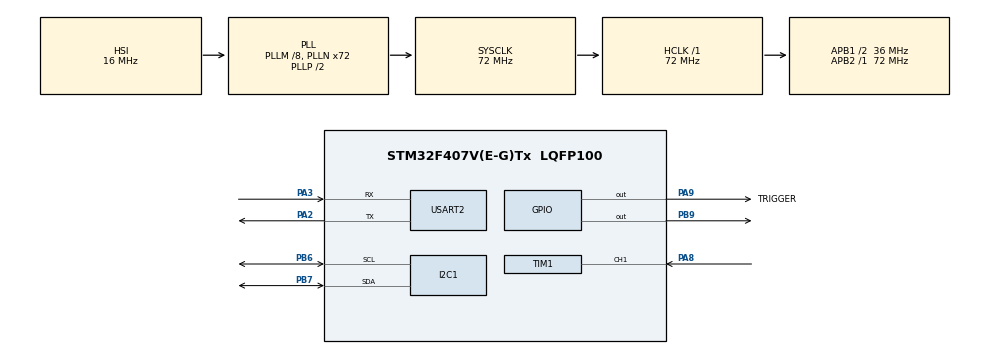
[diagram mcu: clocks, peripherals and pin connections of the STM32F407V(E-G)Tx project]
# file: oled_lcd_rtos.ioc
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FREERTOS.Tasks01=defaultTask,0,128,StartDefaultTask,Default,NULL,Dynamic,NULL,NULL
FREERTOS.configUSE_NEWLIB_REENTRANT=1
I2C1.I2C_Mode=I2C_Fast
Mcu.Family=STM32F4
Mcu.Name=STM32F407V(E-G)Tx
Mcu.Package=LQFP100
NVIC.PriorityGroup=NVIC_PRIORITYGROUP_4
NVIC.TIM2_IRQn=true\:15\:0\:false\:false\:true\:false\:false\:true\:true
NVIC.TimeBase=TIM2_IRQn
NVIC.TimeBaseIP=TIM2
PA2.Mode=Asynchronous
PA2.Signal=USART2_TX
PA3.Mode=Asynchronous
PA3.Signal=USART2_RX
PA8.Signal=S_TIM1_CH1
PA9.GPIO_Label=TRIGGER
PA9.Signal=GPIO_Output
PB6.Mode=I2C
PB6.Signal=I2C1_SCL
PB7.Mode=I2C
PB7.Signal=I2C1_SDA
PB9.Signal=GPIO_Output
PH0-OSC_IN.Mode=HSE-External-Oscillator
PH0-OSC_IN.Signal=RCC_OSC_IN
PH1-OSC_OUT.Mode=HSE-External-Oscillator
PH1-OSC_OUT.Signal=RCC_OSC_OUT
ProjectManager.HeapSize=0x200
ProjectManager.StackSize=0x400
ProjectManager.TargetToolchain=STM32CubeIDE
RCC.48MHZClocksFreq_Value=36000000
RCC.AHBFreq_Value=72000000
RCC.APB1CLKDivider=RCC_HCLK_DIV2
RCC.APB1Freq_Value=36000000
RCC.APB1TimFreq_Value=72000000
RCC.APB2Freq_Value=72000000
RCC.APB2TimFreq_Value=72000000
RCC.CortexFreq_Value=72000000
RCC.HCLKFreq_Value=72000000
RCC.HSE_VALUE=25000000
RCC.HSI_VALUE=16000000
RCC.LSE_VALUE=32768
RCC.PLLM=8
RCC.PLLN=72
RCC.SYSCLKFreq_VALUE=72000000
RCC.SYSCLKSource=RCC_SYSCLKSOURCE_PLLCLK
RCC.VCOOutputFreq_Value=144000000
SH.S_TIM1_CH1.0=TIM1_CH1,Input_Capture1_from_TI1
TIM1.Channel-Input_Capture1_from_TI1=TIM_CHANNEL_1
TIM1.Prescaler=71
USART2.VirtualMode=VM_ASYNC
VP_FREERTOS_VS_CMSIS_V1.Mode=CMSIS_V1
VP_SYS_VS_tim2.Mode=TIM2
VP_TIM1_VS_ClockSourceINT.Mode=Internal
board=custom

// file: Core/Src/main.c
/* USER CODE BEGIN Header */
/**
  ******************************************************************************
  * @file           : main.c
  * @brief          : Main program body
  ******************************************************************************
  * @attention
  *
  * Copyright (c) 2024 STMicroelectronics.
  * All rights reserved.
  *
  * This software is licensed under terms that can be found in the LICENSE file
  * in the root directory of this software component.
  * If no LICENSE file comes with this software, it is provided AS-IS.
  *
  ******************************************************************************
  */
/* USER CODE END Header */
#include "main.h"
#include "cmsis_os.h"

/* USER CODE BEGIN Includes */
#include "fonts.h"
#include "ssd1306.h"
#include "stdio.h"
/* USER CODE END Includes */

I2C_HandleTypeDef hi2c1;

TIM_HandleTypeDef htim1;

UART_HandleTypeDef huart2;

osThreadId defaultTaskHandle;
/* USER CODE BEGIN PV */
osThreadId dht11;
osThreadId oled;
osThreadId transmit;
//osThreadId hcsr04;
/* USER CODE END PV */

void SystemClock_Config(void);
static void MX_GPIO_Init(void);
static void MX_I2C1_Init(void);
static void MX_TIM1_Init(void);
static void MX_USART2_UART_Init(void);
void StartDefaultTask(void const * argument);

/* USER CODE BEGIN PFP */
void dht11Task(void const *paramerter);
void oledTask(void const *paramerter);
void transmitTask(void const *paramerter);
//void hcsr04Task(void const *paramerter);
#ifdef __GNUC__
#define PUTCHAR_PROTOTYPE int __io_putchar(int ch)
#else
#define PUTCHAR_PROTOTYPE int fputc(int ch, FILE *f)
#endif

PUTCHAR_PROTOTYPE
{
  HAL_UART_Transmit(&huart2, (uint8_t *)&ch, 1, HAL_MAX_DELAY);
  return ch;
}
/* USER CODE END PFP */

/* USER CODE BEGIN 0 */
#define DHT11_PORT GPIOB
#define DHT11_PIN GPIO_PIN_9
uint8_t RHI, RHD, TCI, TCD, SUM;
uint32_t pMillis, cMillis;
float tCelsius = 0;
float tFahrenheit = 0;
float RH = 0;
float temp=0;
float humi=0;
float Temp=0, Humi=0;
uint8_t TFI = 0;
uint8_t TFD = 0;
char strCopyTemp[8];
char strCopyHumi[8];
char strspace[3]="  \n";
char *data="hello";
void microDelay (uint16_t delay)
{
  __HAL_TIM_SET_COUNTER(&htim1, 0);
  while (__HAL_TIM_GET_COUNTER(&htim1) < delay);
}
uint8_t DHT11_Start (void)
{
  uint8_t Response = 0;
  GPIO_InitTypeDef GPIO_InitStructPrivate = {0};
  GPIO_InitStructPrivate.Pin = DHT11_PIN;
  GPIO_InitStructPrivate.Mode = GPIO_MODE_OUTPUT_PP;
  GPIO_InitStructPrivate.Speed = GPIO_SPEED_FREQ_LOW;
  GPIO_InitStructPrivate.Pull = GPIO_NOPULL;
  HAL_GPIO_Init(DHT11_PORT, &GPIO_InitStructPrivate); // set the pin as output
  HAL_GPIO_WritePin (DHT11_PORT, DHT11_PIN, 0);   // pull the pin low
  HAL_Delay(20);   // wait for 20ms
  HAL_GPIO_WritePin (DHT11_PORT, DHT11_PIN, 1);   // pull the pin high
  microDelay (30);   // wait for 30us
  GPIO_InitStructPrivate.Mode = GPIO_MODE_INPUT;
  GPIO_InitStructPrivate.Pull = GPIO_PULLUP;
  HAL_GPIO_Init(DHT11_PORT, &GPIO_InitStructPrivate); // set the pin as input
  microDelay (40);
  if (!(HAL_GPIO_ReadPin (DHT11_PORT, DHT11_PIN)))
  {
    microDelay (80);
    if ((HAL_GPIO_ReadPin (DHT11_PORT, DHT11_PIN))) Response = 1;
  }
  pMillis = HAL_GetTick();
  cMillis = HAL_GetTick();
  while ((HAL_GPIO_ReadPin (DHT11_PORT, DHT11_PIN)) && pMillis + 2 > cMillis)
  {
    cMillis = HAL_GetTick();
  }
  return Response;
}

uint8_t DHT11_Read (void)
{
  uint8_t a,b;
  for (a=0;a<8;a++)
  {
    pMillis = HAL_GetTick();
    cMillis = HAL_GetTick();
    while (!(HAL_GPIO_ReadPin (DHT11_PORT, DHT11_PIN)) && pMillis + 2 > cMillis)
    {  // wait for the pin to go high
      cMillis = HAL_GetTick();
    }
    microDelay (40);   // wait for 40 us
    if (!(HAL_GPIO_ReadPin (DHT11_PORT, DHT11_PIN)))   // if the pin is low
      b&= ~(1<<(7-a));
    else
      b|= (1<<(7-a));
    pMillis = HAL_GetTick();
    cMillis = HAL_GetTick();
    while ((HAL_GPIO_ReadPin (DHT11_PORT, DHT11_PIN)) && pMillis + 2 > cMillis)
    {  // wait for the pin to go low
      cMillis = HAL_GetTick();
    }
  }
  return b;
}
//---------HCSR04---------
/*void HCSR04_trig()
{
	HAL_GPIO_WritePin(TRIGGER_GPIO_Port, TRIGGER_Pin, GPIO_PIN_SET);
	microDelay(10);
	HAL_GPIO_WritePin(TRIGGER_GPIO_Port, TRIGGER_Pin, GPIO_PIN_RESET);
	__HAL_TIM_ENABLE_IT(&htim1, TIM_IT_CC1);
}
void HAL_TIM_IC_CaptureCallback(TIM_HandleTypeDef *htim)
{
	if(htim ->Channel == HAL_TIM_ACTIVE_CHANNEL_1)
	{
		if(is_first_cap==0)
		{
			IC_val1=HAL_TIM_ReadCapturedValue(htim, TIM_CHANNEL_1);
			is_first_cap=1;
			__HAL_TIM_SET_CAPTUREPOLARITY(htim, TIM_CHANNEL_1, TIM_INPUTCHANNELPOLARITY_FALLING);
		}
		else if(is_first_cap==1)
		{
			IC_val2 = HAL_TIM_ReadCapturedValue(htim, TIM_CHANNEL_1);
			__HAL_TIM_SET_COUNTER(htim, 0);
			if(IC_val2>IC_val1)
			{
				dif=IC_val2-IC_val1;
			}
			else if(IC_val2<IC_val1)
			{
				dif=0xffff+IC_val2-IC_val1;
			}
			distance=0.017*dif;
			is_first_cap=0;
			__HAL_TIM_SET_CAPTUREPOLARITY(htim, TIM_CHANNEL_1, TIM_INPUTCHANNELPOLARITY_RISING);
			__HAL_TIM_DISABLE_IT(&htim1, TIM_IT_CC1);
		}
	}
}*/
/* USER CODE END 0 */

int main(void)
{

  /* MCU Configuration--------------------------------------------------------*/

  /* Reset of all peripherals, Initializes the Flash interface and the Systick. */
  HAL_Init();

  /* Configure the system clock */
  SystemClock_Config();

  /* Initialize all configured peripherals */
  MX_GPIO_Init();
  MX_I2C1_Init();
  MX_TIM1_Init();
  MX_USART2_UART_Init();
  /* USER CODE BEGIN 2 */
  SSD1306_Init();
  HAL_TIM_Base_Start(&htim1);
  SSD1306_Init();
  SSD1306_GotoXY (0,0);
  SSD1306_Puts ("DHT11", &Font_11x18, 1);
  SSD1306_UpdateScreen();
  HAL_Delay (1000);
  SSD1306_Clear();
  /* USER CODE END 2 */

  /* Create the thread(s) */
  /* definition and creation of defaultTask */
  osThreadDef(defaultTask, StartDefaultTask, osPriorityNormal, 0, 128);
  defaultTaskHandle = osThreadCreate(osThread(defaultTask), NULL);

  /* USER CODE BEGIN RTOS_THREADS */
  osThreadDef(Taskoled, oledTask, osPriorityAboveNormal, 1, 128);
  oled = osThreadCreate(osThread(Taskoled), NULL);
  osThreadDef(Tasktransmit, transmitTask, osPriorityAboveNormal, 1, 128);
  transmit = osThreadCreate(osThread(Tasktransmit), NULL);
  osThreadDef(Taskdht, dht11Task, osPriorityAboveNormal, 1, 128);
  dht11 = osThreadCreate(osThread(Taskdht), NULL);

  //osThreadDef(Taskhcsr04, hcsr04Task, osPriorityAboveNormal, 0, 128);
  //hcsr04 = osThreadCreate(osThread(Taskhcsr04), NULL);
  /* add threads, ... */
  /* USER CODE END RTOS_THREADS */

  /* Start scheduler */
  osKernelStart();

  /* We should never get here as control is now taken by the scheduler */
  /* Infinite loop */
  while (1)
  {

  }
}

void SystemClock_Config(void)
{
  RCC_OscInitTypeDef RCC_OscInitStruct = {0};
  RCC_ClkInitTypeDef RCC_ClkInitStruct = {0};

  /** Configure the main internal regulator output voltage
  */
  __HAL_RCC_PWR_CLK_ENABLE();
  __HAL_PWR_VOLTAGESCALING_CONFIG(PWR_REGULATOR_VOLTAGE_SCALE1);

  /** Initializes the RCC Oscillators according to the specified parameters
  * in the RCC_OscInitTypeDef structure.
  */
  RCC_OscInitStruct.OscillatorType = RCC_OSCILLATORTYPE_HSI;
  RCC_OscInitStruct.HSIState = RCC_HSI_ON;
  RCC_OscInitStruct.HSICalibrationValue = RCC_HSICALIBRATION_DEFAULT;
  RCC_OscInitStruct.PLL.PLLState = RCC_PLL_ON;
  RCC_OscInitStruct.PLL.PLLSource = RCC_PLLSOURCE_HSI;
  RCC_OscInitStruct.PLL.PLLM = 8;
  RCC_OscInitStruct.PLL.PLLN = 72;
  RCC_OscInitStruct.PLL.PLLP = RCC_PLLP_DIV2;
  RCC_OscInitStruct.PLL.PLLQ = 4;
  if (HAL_RCC_OscConfig(&RCC_OscInitStruct) != HAL_OK)
  {
    Error_Handler();
  }

  /** Initializes the CPU, AHB and APB buses clocks
  */
  RCC_ClkInitStruct.ClockType = RCC_CLOCKTYPE_HCLK|RCC_CLOCKTYPE_SYSCLK
                              |RCC_CLOCKTYPE_PCLK1|RCC_CLOCKTYPE_PCLK2;
  RCC_ClkInitStruct.SYSCLKSource = RCC_SYSCLKSOURCE_PLLCLK;
  RCC_ClkInitStruct.AHBCLKDivider = RCC_SYSCLK_DIV1;
  RCC_ClkInitStruct.APB1CLKDivider = RCC_HCLK_DIV2;
  RCC_ClkInitStruct.APB2CLKDivider = RCC_HCLK_DIV1;

  if (HAL_RCC_ClockConfig(&RCC_ClkInitStruct, FLASH_LATENCY_2) != HAL_OK)
  {
    Error_Handler();
  }
}

static void MX_I2C1_Init(void)
{

  hi2c1.Instance = I2C1;
  hi2c1.Init.ClockSpeed = 400000;
  hi2c1.Init.DutyCycle = I2C_DUTYCYCLE_2;
  hi2c1.Init.OwnAddress1 = 0;
  hi2c1.Init.AddressingMode = I2C_ADDRESSINGMODE_7BIT;
  hi2c1.Init.DualAddressMode = I2C_DUALADDRESS_DISABLE;
  hi2c1.Init.OwnAddress2 = 0;
  hi2c1.Init.GeneralCallMode = I2C_GENERALCALL_DISABLE;
  hi2c1.Init.NoStretchMode = I2C_NOSTRETCH_DISABLE;
  if (HAL_I2C_Init(&hi2c1) != HAL_OK)
  {
    Error_Handler();
  }

}

static void MX_TIM1_Init(void)
{

  TIM_ClockConfigTypeDef sClockSourceConfig = {0};
  TIM_MasterConfigTypeDef sMasterConfig = {0};
  TIM_IC_InitTypeDef sConfigIC = {0};

  htim1.Instance = TIM1;
  htim1.Init.Prescaler = 71;
  htim1.Init.CounterMode = TIM_COUNTERMODE_UP;
  htim1.Init.Period = 65535;
  htim1.Init.ClockDivision = TIM_CLOCKDIVISION_DIV1;
  htim1.Init.RepetitionCounter = 0;
  htim1.Init.AutoReloadPreload = TIM_AUTORELOAD_PRELOAD_DISABLE;
  if (HAL_TIM_Base_Init(&htim1) != HAL_OK)
  {
    Error_Handler();
  }
  sClockSourceConfig.ClockSource = TIM_CLOCKSOURCE_INTERNAL;
  if (HAL_TIM_ConfigClockSource(&htim1, &sClockSourceConfig) != HAL_OK)
  {
    Error_Handler();
  }
  if (HAL_TIM_IC_Init(&htim1) != HAL_OK)
  {
    Error_Handler();
  }
  sMasterConfig.MasterOutputTrigger = TIM_TRGO_RESET;
  sMasterConfig.MasterSlaveMode = TIM_MASTERSLAVEMODE_DISABLE;
  if (HAL_TIMEx_MasterConfigSynchronization(&htim1, &sMasterConfig) != HAL_OK)
  {
    Error_Handler();
  }
  sConfigIC.ICPolarity = TIM_INPUTCHANNELPOLARITY_RISING;
  sConfigIC.ICSelection = TIM_ICSELECTION_DIRECTTI;
  sConfigIC.ICPrescaler = TIM_ICPSC_DIV1;
  sConfigIC.ICFilter = 0;
  if (HAL_TIM_IC_ConfigChannel(&htim1, &sConfigIC, TIM_CHANNEL_1) != HAL_OK)
  {
    Error_Handler();
  }

}

static void MX_USART2_UART_Init(void)
{

  huart2.Instance = USART2;
  huart2.Init.BaudRate = 115200;
  huart2.Init.WordLength = UART_WORDLENGTH_8B;
  huart2.Init.StopBits = UART_STOPBITS_1;
  huart2.Init.Parity = UART_PARITY_NONE;
  huart2.Init.Mode = UART_MODE_TX_RX;
  huart2.Init.HwFlowCtl = UART_HWCONTROL_NONE;
  huart2.Init.OverSampling = UART_OVERSAMPLING_16;
  if (HAL_UART_Init(&huart2) != HAL_OK)
  {
    Error_Handler();
  }

}

static void MX_GPIO_Init(void)
{
  GPIO_InitTypeDef GPIO_InitStruct = {0};

  /* GPIO Ports Clock Enable */
  __HAL_RCC_GPIOH_CLK_ENABLE();
  __HAL_RCC_GPIOA_CLK_ENABLE();
  __HAL_RCC_GPIOB_CLK_ENABLE();

  /*Configure GPIO pin Output Level */
  HAL_GPIO_WritePin(TRIGGER_GPIO_Port, TRIGGER_Pin, GPIO_PIN_RESET);

  /*Configure GPIO pin Output Level */
  HAL_GPIO_WritePin(GPIOB, GPIO_PIN_9, GPIO_PIN_RESET);

  /*Configure GPIO pin : TRIGGER_Pin */
  GPIO_InitStruct.Pin = TRIGGER_Pin;
  GPIO_InitStruct.Mode = GPIO_MODE_OUTPUT_PP;
  GPIO_InitStruct.Pull = GPIO_NOPULL;
  GPIO_InitStruct.Speed = GPIO_SPEED_FREQ_LOW;
  HAL_GPIO_Init(TRIGGER_GPIO_Port, &GPIO_InitStruct);

  /*Configure GPIO pin : PB9 */
  GPIO_InitStruct.Pin = GPIO_PIN_9;
  GPIO_InitStruct.Mode = GPIO_MODE_OUTPUT_PP;
  GPIO_InitStruct.Pull = GPIO_NOPULL;
  GPIO_InitStruct.Speed = GPIO_SPEED_FREQ_LOW;
  HAL_GPIO_Init(GPIOB, &GPIO_InitStruct);

}

/* USER CODE BEGIN 4 */
void dht11Task(void const *paramerter)
{
	uint32_t StartTimedht = xTaskGetTickCount();
	while(1)
	{
		if(DHT11_Start())
		  {
			RHI = DHT11_Read(); // Relative humidity integral
			RHD = DHT11_Read(); // Relative humidity decimal
			TCI = DHT11_Read(); // Celsius integral
			TCD = DHT11_Read(); // Celsius decimal
			SUM = DHT11_Read(); // Check sum
		    Humi = (RHI<<8)|RHD;
		    Temp= (TCI<<8)|TCD;
			if (RHI + RHD + TCI + TCD == SUM)
			{
			  RH = (float)RHI + (float)(RHD/10.0);
			  temp=(float)(Temp/10.0);
			  humi=(float)(Humi/10.0);

			}
			HAL_Delay(100);
		  }
		osDelayUntil(&StartTimedht,1000);
		//osDelay(1000);
	}
}
void oledTask(void const *paramerter)
{
	uint32_t StartTimeoled = xTaskGetTickCount();
	while(1)
	{
		itoa(temp, strCopyTemp,10);
		itoa(humi, strCopyHumi, 10);
		//itoa(temp, strCopyTemp,10);
		SSD1306_GotoXY (10, 10);
		SSD1306_Puts (strCopyTemp, &Font_11x18, 1);
		SSD1306_Puts(" C", &Font_11x18, 1);
		//itoa(humi, strCopyHumi, 10);
		SSD1306_GotoXY (10, 40);
		SSD1306_Puts (strCopyHumi, &Font_11x18, 1);
		SSD1306_Puts(" %", &Font_11x18, 1);
		SSD1306_UpdateScreen();
		HAL_Delay(100);
		osDelayUntil(&StartTimeoled, 1000);
		//osDelay(1000);
	}
}
void transmitTask(void const *paramerter)
{
	uint32_t StartTimeUART = xTaskGetTickCount();
	while(1)
	{
		HAL_UART_Transmit(&huart2, (uint8_t *)strCopyTemp, strlen(strCopyTemp),100);
		HAL_Delay(100);
		HAL_UART_Transmit(&huart2, (uint8_t *)strCopyHumi, strlen(strCopyHumi),100);
		HAL_Delay(100);
		HAL_UART_Transmit(&huart2, (uint8_t *)strspace, strlen(strspace),100);
		//HAL_UART_Transmit(&huart2, (uint8_t *)strCopyTemp, strlen(strCopyTemp),100);
		//printf("hellu");
		osDelayUntil(&StartTimeUART, 1000);
		//osDelay(1000);
	}

}
/* USER CODE END 4 */

void StartDefaultTask(void const * argument)
{
  /* USER CODE BEGIN 5 */
  /* Infinite loop */
  for(;;)
  {
	  //printf("Task default\n");
	  osDelay(200);
  }
  /* USER CODE END 5 */
}

void HAL_TIM_PeriodElapsedCallback(TIM_HandleTypeDef *htim)
{
  if (htim->Instance == TIM2) {
    HAL_IncTick();
  }
}

void Error_Handler(void)
{
  __disable_irq();
  while (1)
  {
  }
}
